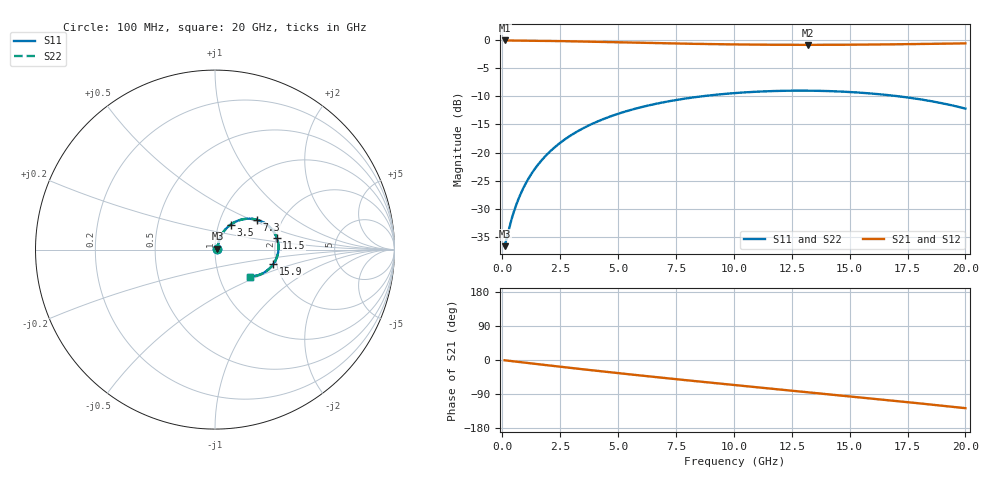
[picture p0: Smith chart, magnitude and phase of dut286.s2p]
! Touchstone file exported from HFSS 2026.1.0
!  File:  C:/ffzhzh/LocalFiles/Ansys_Project_Files/temp_train_TSV_RDL_286_1783086714_35048.aedt
!  Generated:  10:06:13 PM Jul  3, 2026
!  Design:  TSV_RDL
!  Project:  temp_train_TSV_RDL_286_1783086714_35048
! Variables:
!  h_bsmrdl = 5.03um
!  h_ox = 20um
!  h_rdl = 5um
!  h_sub = 69.13um
!  h_tmrdl = 5.76um
!  h_tsv = 69.13um
!  h_via = 3um
!  l_bsmrdl = 197.85um
!  l_sub = 2121.14um
!  l_tmrdl = 261.22um
!  m_sub = 200um
!  pitch = 25.03um
!  r_tsv = 3.51um
!  s_tmrdl = 10um
!  w_bsmrdl = 17.41um
!  w_sub = 500um
!  w_tmrdl = 10.16um
!  x_tsv_center1 = 266.3um
!  x_tsv_center2 = 481.56um
!  x_tsv_center3 = 752.94um
!  x_tsv_center4 = 968.2um
!  x_tsv_center5 = 1239.58um
!  x_tsv_center6 = 1454.84um
# GHz S MA R 50.000000
! Terminal data exported
! Port[1] = TM_RDL1_1_T1
! Port[2] = TM_RDL5_1_T1
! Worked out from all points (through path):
!   200 points, 100 MHz to 20 GHz, reference 50 ohm
!   highest |S21| = -0.12 dB at 100 MHz (marker M1); lowest = -0.9 dB at 13.2 GHz (marker M2)
!   group delay of S21, straight-line fit = 17.3 ps
!   lowest |S11| = -36.6 dB at 100 MHz (marker M3), VSWR 1.03, Z = 51.4 + j0.556 ohm
!   |S11| at or under -10 dB: start of sweep to 8.654 GHz; 17.08 GHz to end of sweep
!   |S22| runs from -36.6 to -9.0 dB; largest |S21 - S12| = 3.9e-13
!   S11 on the Smith chart (normalised r, x): 100 MHz: 1.03, +0.01; 3.5 GHz: 1.14, +0.33; 7.3 GHz: 1.50, +0.54; 11.5 GHz: 2.02, +0.31; 15.9 GHz: 1.92, -0.35; 20 GHz: 1.40, -0.45
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0.1  0.01484 21.4  0.9862 -0.8  0.9862 -0.8  0.01484 21.4
! Gamma 0 0 0 0
! Port Impedance 50 0 50 0
0.4  0.0257 51.7  0.9849 -2.9  0.9849 -2.9  0.0257 51.7
0.6  0.03437 59.2  0.9842 -4.3  0.9842 -4.3  0.03437 59.2
0.9  0.04809 64.3  0.9832 -6.5  0.9832 -6.5  0.04809 64.3
1.3  0.06687 66.4  0.9814 -9.3  0.9814 -9.3  0.06687 66.4
1.7  0.08564 66.3  0.9792 -12.1  0.9792 -12.1  0.08564 66.3
2.2  0.1087 64.7  0.9759 -15.7  0.9759 -15.7  0.1087 64.7
2.8  0.1353 61.8  0.9711 -19.8  0.9711 -19.8  0.1353 61.8
3.5  0.1648 57.9  0.9648 -24.6  0.9648 -24.6  0.1648 57.9
4.2  0.1922 53.8  0.958 -29.3  0.958 -29.3  0.1922 53.8
5  0.2209 49.0  0.9501 -34.6  0.9501 -34.6  0.2209 49.0
6.8  0.2752 38.1  0.9328 -46.2  0.9328 -46.2  0.2752 38.1
7.3  0.2878 35.2  0.9284 -49.3  0.9284 -49.3  0.2878 35.2
8.7  0.3171 27.0  0.9176 -58.0  0.9176 -58.0  0.3171 27.0
10.1  0.3379 18.9  0.9093 -66.5  0.9093 -66.5  0.3379 18.9
11.5  0.3503 11.0  0.904 -74.9  0.904 -74.9  0.3502 11.0
13.2  0.354 1.3  0.9017 -85.1  0.9017 -85.1  0.354 1.3
13.4  0.3537 0.2  0.9018 -86.3  0.9018 -86.3  0.3537 0.2
15.9  0.3346 -14.1  0.9071 -101.4  0.9071 -101.4  0.3346 -14.1
16.7  0.3229 -18.7  0.9105 -106.3  0.9105 -106.3  0.3228 -18.7
18.4  0.2887 -28.5  0.9195 -116.9  0.9195 -116.9  0.2887 -28.5
20  0.2456 -37.9  0.9292 -127.1  0.9292 -127.1  0.2455 -37.9
